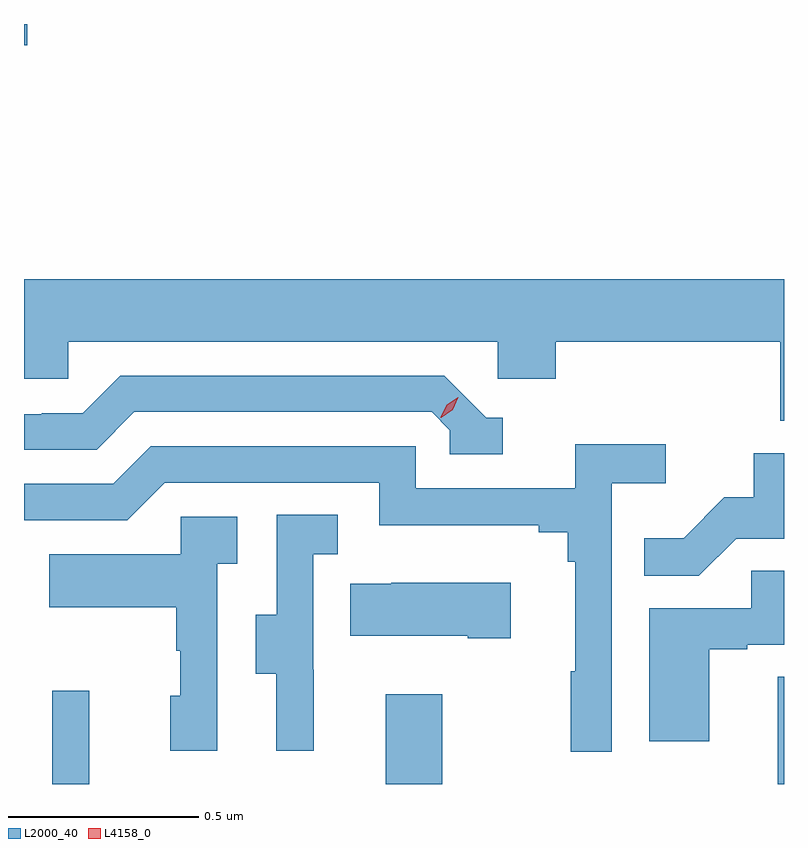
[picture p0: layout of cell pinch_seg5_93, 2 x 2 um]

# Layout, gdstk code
import gdstk
lib = gdstk.Library(unit=1e-6, precision=1e-09)
def R(c, l, rs):  # rectangles x0, y0, x1, y1
    for r in rs: c.add(gdstk.rectangle(r[:2], r[2:], *l))
def P(c, l, *ps):  # polygons
    for p in ps: c.add(gdstk.Polygon(p, *l))
L2000_40 = (2000, 40)
L4158_0 = (4158, 0)

pinch_seg5_93 = lib.new_cell('pinch_seg5_93')
R(pinch_seg5_93, L2000_40, [(1049.331,907.544,1049.429,907.789), (1050.209,907.544,1050.357,907.78), (1051.241,907.544,1051.257,907.826), (1049.257,909.488,1049.266,909.544)])
P(pinch_seg5_93, L2000_40, [(1051.257,908.872),(1049.257,908.872),(1049.257,908.61),(1049.373,908.61),(1049.373,908.708),(1050.504,908.708),(1050.504,908.61),(1050.656,908.61),(1050.656,908.708),(1051.247,908.708),(1051.247,908.5),(1051.257,908.5)],
  [(1050.517,908.508),(1050.474,908.508),(1050.363,908.619),(1049.51,908.619),(1049.411,908.52),(1049.304,908.52),(1049.304,908.517),(1049.257,908.517),(1049.257,908.424),(1049.448,908.424),(1049.547,908.523),(1050.33,908.523),(1050.378,908.475),(1050.378,908.412),(1050.517,908.412)],
  [(1050.804,908.336),(1050.946,908.336),(1050.946,908.438),(1050.707,908.438),(1050.707,908.322),(1050.288,908.322),(1050.288,908.433),(1049.591,908.433),(1049.492,908.334),(1049.257,908.334),(1049.257,908.238),(1049.529,908.238),(1049.628,908.337),(1050.192,908.337),(1050.192,908.225),(1050.611,908.225),(1050.611,908.206),(1050.688,908.206),(1050.688,908.129),(1050.707,908.129),(1050.707,907.841),(1050.696,907.841),(1050.696,907.629),(1050.804,907.629)],
  [(1051.131,908.19),(1051.257,908.19),(1051.257,908.415),(1051.177,908.415),(1051.177,908.298),(1051.1,908.298),(1050.993,908.191),(1050.889,908.191),(1050.889,908.092),(1051.033,908.092)],
  [(1050.02,907.845),(1050.018,907.845),(1050.018,908.149),(1050.082,908.149),(1050.082,908.252),(1049.922,908.252),(1049.922,907.989),(1049.867,907.989),(1049.867,907.834),(1049.921,907.834),(1049.921,907.632),(1050.02,907.632)],
  [(1049.766,908.123),(1049.818,908.123),(1049.818,908.247),(1049.67,908.247),(1049.67,908.149),(1049.323,908.149),(1049.323,908.009),(1049.658,908.009),(1049.658,907.895),(1049.668,907.895),(1049.668,907.776),(1049.642,907.776),(1049.642,907.632),(1049.766,907.632)],
  [(1051.06,907.899),(1051.16,907.899),(1051.16,907.911),(1051.257,907.911),(1051.257,908.105),(1051.171,908.105),(1051.171,908.007),(1050.902,908.007),(1050.902,907.656),(1051.06,907.656)],
  [(1050.538,908.074),(1050.223,908.074),(1050.223,908.071),(1050.115,908.071),(1050.115,907.934),(1050.425,907.934),(1050.425,907.927),(1050.538,907.927)])
P(pinch_seg5_93, L4158_0, [(1050.354,908.508),(1050.354,908.509),(1050.37,908.542),(1050.4,908.562),(1050.4,908.562),(1050.4,908.562),(1050.385,908.529),(1050.355,908.508)])

lib.write_gds('pinch_seg5_93.gds')
